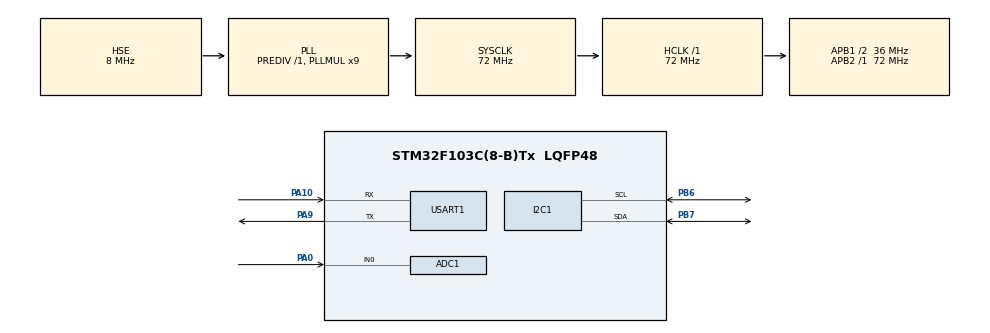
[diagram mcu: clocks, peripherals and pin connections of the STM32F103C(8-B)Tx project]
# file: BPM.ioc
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ADC1.Channel-1\#ChannelRegularConversion=ADC_CHANNEL_0
ADC1.NbrOfConversion=1
ADC1.NbrOfConversionFlag=1
ADC1.Rank-1\#ChannelRegularConversion=1
ADC1.SamplingTime-1\#ChannelRegularConversion=ADC_SAMPLETIME_1CYCLE_5
ADC1.master=1
Dma.ADC1.0.Direction=DMA_PERIPH_TO_MEMORY
Dma.ADC1.0.Instance=DMA1_Channel1
Dma.ADC1.0.MemDataAlignment=DMA_MDATAALIGN_WORD
Dma.ADC1.0.MemInc=DMA_MINC_ENABLE
Dma.ADC1.0.Mode=DMA_CIRCULAR
Dma.ADC1.0.PeriphDataAlignment=DMA_PDATAALIGN_WORD
Dma.ADC1.0.PeriphInc=DMA_PINC_DISABLE
Dma.ADC1.0.Priority=DMA_PRIORITY_MEDIUM
Dma.Request0=ADC1
Mcu.Family=STM32F1
Mcu.Name=STM32F103C(8-B)Tx
Mcu.Package=LQFP48
NVIC.DMA1_Channel1_IRQn=true\:0\:0\:false\:false\:true\:false\:true\:true
NVIC.PriorityGroup=NVIC_PRIORITYGROUP_4
NVIC.USART1_IRQn=true\:0\:0\:false\:false\:true\:true\:true\:true
PA0-WKUP.Signal=ADCx_IN0
PA10.Mode=Asynchronous
PA10.Signal=USART1_RX
PA13.Mode=Serial_Wire
PA13.Signal=SYS_JTMS-SWDIO
PA14.Mode=Serial_Wire
PA14.Signal=SYS_JTCK-SWCLK
PA9.Mode=Asynchronous
PA9.Signal=USART1_TX
PB6.Mode=I2C
PB6.Signal=I2C1_SCL
PB7.Mode=I2C
PB7.Signal=I2C1_SDA
PD0-OSC_IN.Mode=HSE-External-Oscillator
PD0-OSC_IN.Signal=RCC_OSC_IN
PD1-OSC_OUT.Mode=HSE-External-Oscillator
PD1-OSC_OUT.Signal=RCC_OSC_OUT
ProjectManager.HeapSize=0x200
ProjectManager.StackSize=0x400
ProjectManager.TargetToolchain=MDK-ARM V5.32
RCC.ADCPresc=RCC_ADCPCLK2_DIV6
RCC.AHBFreq_Value=72000000
RCC.APB1CLKDivider=RCC_HCLK_DIV2
RCC.APB1Freq_Value=36000000
RCC.APB1TimFreq_Value=72000000
RCC.APB2Freq_Value=72000000
RCC.APB2TimFreq_Value=72000000
RCC.HCLKFreq_Value=72000000
RCC.PLLMUL=RCC_PLL_MUL9
RCC.PLLSourceVirtual=RCC_PLLSOURCE_HSE
RCC.SYSCLKFreq_VALUE=72000000
RCC.SYSCLKSource=RCC_SYSCLKSOURCE_PLLCLK
RCC.USBFreq_Value=72000000
SH.ADCx_IN0.0=ADC1_IN0,IN0
USART1.VirtualMode=VM_ASYNC
board=custom

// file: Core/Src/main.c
/* USER CODE BEGIN Header */
/**
  ******************************************************************************
  * @file           : main.c
  * @brief          : Main program body
  ******************************************************************************
  * @attention
  *
  * Copyright (c) 2026 STMicroelectronics.
  * All rights reserved.
  *
  * This software is licensed under terms that can be found in the LICENSE file
  * in the root directory of this software component.
  * If no LICENSE file comes with this software, it is provided AS-IS.
  *
  ******************************************************************************
  */
/* USER CODE END Header */
#include "main.h"
#include "adc.h"
#include "dma.h"
#include "i2c.h"
#include "usart.h"
#include "gpio.h"

/* USER CODE BEGIN Includes */
#include  "oled.h"
#include "bsp_adc_dma.h"
#include <stdio.h>
extern volatile uint8_t adc_dma_flag;
/* USER CODE END Includes */

void SystemClock_Config(void);

int main(void)
{

  /* MCU Configuration--------------------------------------------------------*/

  /* Reset of all peripherals, Initializes the Flash interface and the Systick. */
  HAL_Init();

  /* Configure the system clock */
  SystemClock_Config();

  /* Initialize all configured peripherals */
  MX_GPIO_Init();
  MX_DMA_Init();
  MX_I2C1_Init();
  MX_ADC1_Init();
  MX_USART1_UART_Init();
  /* USER CODE BEGIN 2 */

	HAL_Delay(100);

//HAL_StatusTypeDef ret; // 这行必须有，声明 ret 是 HAL 状态类型
	uint8_t buf[2] = {0x00, 0x00};
	HAL_I2C_Master_Transmit(&hi2c1, OLED_I2C_ADDR, buf, 2, 100);

    // 通信成功：执行完整初始化+显示
    OLED_Init();    // 必须调用，包含电荷泵、显存配置等核心步骤
    OLED_Clear();   // 清空显存避免乱码
    OLED_ShowString(0, 0, "Test OK"); // 显示测试字符
	BSP_ADC_DMA_Init();
	BSP_ADC_DMA_Start();

  /* USER CODE END 2 */

  /* Infinite loop */
  /* USER CODE BEGIN WHILE */
  while (1)
  {
	  if(adc_dma_flag==1)
		{
			adc_dma_flag=0;

			uint32_t avg=0;
			for(int i=0; i<ADC_BUFFER_SIZE; i++)
			{
            avg += BSP_ADC_Get_Buffer_Element(i);
			}
			avg /= ADC_BUFFER_SIZE;
			printf("ADC平均值：%u\r\n", avg);
		}
		HAL_Delay(100);

    /* USER CODE END WHILE */

  }
}

void SystemClock_Config(void)
{
  RCC_OscInitTypeDef RCC_OscInitStruct = {0};
  RCC_ClkInitTypeDef RCC_ClkInitStruct = {0};
  RCC_PeriphCLKInitTypeDef PeriphClkInit = {0};

  /** Initializes the RCC Oscillators according to the specified parameters
  * in the RCC_OscInitTypeDef structure.
  */
  RCC_OscInitStruct.OscillatorType = RCC_OSCILLATORTYPE_HSE;
  RCC_OscInitStruct.HSEState = RCC_HSE_ON;
  RCC_OscInitStruct.HSEPredivValue = RCC_HSE_PREDIV_DIV1;
  RCC_OscInitStruct.HSIState = RCC_HSI_ON;
  RCC_OscInitStruct.PLL.PLLState = RCC_PLL_ON;
  RCC_OscInitStruct.PLL.PLLSource = RCC_PLLSOURCE_HSE;
  RCC_OscInitStruct.PLL.PLLMUL = RCC_PLL_MUL9;
  if (HAL_RCC_OscConfig(&RCC_OscInitStruct) != HAL_OK)
  {
    Error_Handler();
  }

  /** Initializes the CPU, AHB and APB buses clocks
  */
  RCC_ClkInitStruct.ClockType = RCC_CLOCKTYPE_HCLK|RCC_CLOCKTYPE_SYSCLK
                              |RCC_CLOCKTYPE_PCLK1|RCC_CLOCKTYPE_PCLK2;
  RCC_ClkInitStruct.SYSCLKSource = RCC_SYSCLKSOURCE_PLLCLK;
  RCC_ClkInitStruct.AHBCLKDivider = RCC_SYSCLK_DIV1;
  RCC_ClkInitStruct.APB1CLKDivider = RCC_HCLK_DIV2;
  RCC_ClkInitStruct.APB2CLKDivider = RCC_HCLK_DIV1;

  if (HAL_RCC_ClockConfig(&RCC_ClkInitStruct, FLASH_LATENCY_2) != HAL_OK)
  {
    Error_Handler();
  }
  PeriphClkInit.PeriphClockSelection = RCC_PERIPHCLK_ADC;
  PeriphClkInit.AdcClockSelection = RCC_ADCPCLK2_DIV6;
  if (HAL_RCCEx_PeriphCLKConfig(&PeriphClkInit) != HAL_OK)
  {
    Error_Handler();
  }
}

/* USER CODE BEGIN 4 */
	int fputc(int ch, FILE *f)
	{
		HAL_UART_Transmit(&huart1, (uint8_t *)&ch, 1, 1000);
		return ch;
	}
/* USER CODE END 4 */

void Error_Handler(void)
{
  __disable_irq();
  while (1)
  {
  }
}
